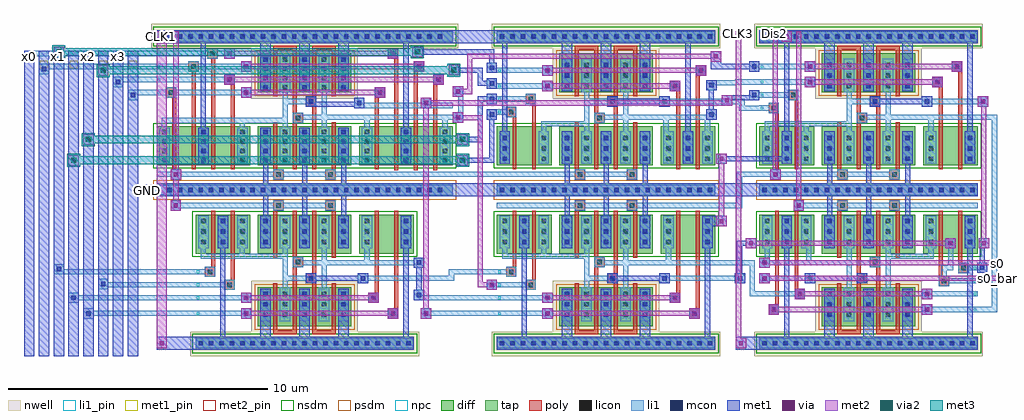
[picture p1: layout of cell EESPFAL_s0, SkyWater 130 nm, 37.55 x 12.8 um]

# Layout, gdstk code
from math import pi, radians
import gdstk
lib = gdstk.Library(unit=1e-6, precision=1e-09)
def R(c, l, rs):  # rectangles x0, y0, x1, y1
    for r in rs: c.add(gdstk.rectangle(r[:2], r[2:], *l))
def A(c, l, x, y, w, h, nx, ny, dx, dy):  # array of equal rectangles
    R(c, l, [(x+i*dx, y+j*dy, x+i*dx+w, y+j*dy+h) for i in range(nx) for j in range(ny)])
nwell = (64, 20)
diff = (65, 20)
tap = (65, 44)
poly = (66, 20)
licon = (66, 44)
li1_pin = (67, 16)
li1 = (67, 20)
mcon = (67, 44)
met1_pin = (68, 16)
met1 = (68, 20)
via = (68, 44)
met2_pin = (69, 16)
met2 = (69, 20)
via2 = (69, 44)
met3 = (70, 20)
nsdm = (93, 44)
psdm = (94, 20)
npc = (95, 20)

m1_via_m2 = lib.new_cell('M1_via_M2')
R(m1_via_m2, met1, [(-0.2,-0.19,0.2,0.21)])
R(m1_via_m2, via, [(-0.075,-0.065,0.075,0.085)])
R(m1_via_m2, met2, [(-0.2,-0.19,0.2,0.21)])

li_via_m2 = lib.new_cell('Li_via_M2')
R(li_via_m2, li1, [(-0.2,-0.19,0.2,0.21)])
R(li_via_m2, mcon, [(-0.085,-0.075,0.085,0.095)])
R(li_via_m2, met1, [(-0.2,-0.19,0.2,0.21)])
R(li_via_m2, via, [(-0.075,-0.065,0.075,0.085)])
R(li_via_m2, met2, [(-0.2,-0.19,0.2,0.21)])

li_mcon_m1 = lib.new_cell('Li_mcon_M1')
R(li_mcon_m1, li1, [(-0.1,-0.1,0.3,0.3)])
R(li_mcon_m1, mcon, [(0.015,0.015,0.185,0.185)])
R(li_mcon_m1, met1, [(-0.1,-0.1,0.3,0.3)])

m1_m3 = lib.new_cell('M1_M3')
R(m1_m3, met1, [(-0.5,-0.4,-0.1,0)])
R(m1_m3, via, [(-0.375,-0.27,-0.225,-0.12)])
R(m1_m3, met2, [(-0.5,-0.4,-0.1,0)])
R(m1_m3, via2, [(-0.4,-0.295,-0.2,-0.095)])
R(m1_m3, met3, [(-0.55,-0.45,-0.05,0.05)])

eespfal_xor_v3 = lib.new_cell('EESPFAL_XOR_v3')
R(eespfal_xor_v3, nwell, [(-2.8,4.6,1.3,6.55), (-6.65,6.55,5.15,7.5)])
A(eespfal_xor_v3, diff, -6.45, 2.05, 3.6, 1.5, 3, 1, 3.9, 0)
R(eespfal_xor_v3, diff, [(-2.55,4.85,1.05,6.35)])
R(eespfal_xor_v3, tap, [(-6.45,0.85,4.95,1.35), (-6.45,6.75,4.95,7.25)])
R(eespfal_xor_v3, poly, [(-1.95,1.5,-1.55,1.9), (0.05,1.5,0.45,1.9), (2.7,1.85,2.85,6.15), (3.45,1.85,3.6,5.65), (4.2,1.85,4.35,5.15), (-5.85,1.9,-5.7,4.65), (-5.1,1.9,-4.95,5.65), (-4.35,1.9,-4.2,6.15), (-3.6,1.9,-3.45,5.15), (-1.95,1.9,-1.8,3.7), (-1.2,1.9,-1.05,3.675), (-0.45,1.9,-0.3,4.3), (0.3,1.9,0.45,3.7), (1.95,1.9,2.1,4.65), (-1.2,3.675,-0.8,4.075), (-1.2,4.075,-1.05,6.5), (-0.7,4.3,-0.3,4.7), (-6.1,4.65,-5.7,5.05), (1.95,4.65,2.35,5.05), (-1.95,4.7,-1.8,6.5), (-0.45,4.7,-0.3,6.5), (0.3,4.7,0.45,6.5), (-3.85,5.15,-3.45,5.55), (4.2,5.15,4.6,5.55), (-5.225,5.65,-4.825,6.05), (3.45,5.65,3.85,6.05), (-4.5,6.15,-4.1,6.55), (2.45,6.15,2.85,6.55), (-1.95,6.5,-1.05,6.65), (-0.45,6.5,0.45,6.65)])
A(eespfal_xor_v3, licon, -6.035, 1.015, 0.17, 0.17, 27, 2, 0.4, 5.9)
A(eespfal_xor_v3, licon, -6.235, 2.16, 0.17, 0.17, 3, 4, 1.5, 0.36)
A(eespfal_xor_v3, licon, -2.335, 2.16, 0.17, 0.17, 5, 4, 0.75, 0.36)
A(eespfal_xor_v3, licon, 1.565, 2.16, 0.17, 0.17, 3, 4, 1.5, 0.36)
A(eespfal_xor_v3, licon, -2.335, 4.96, 0.17, 0.17, 5, 4, 0.75, 0.36)
R(eespfal_xor_v3, licon, [(-1.835,1.615,-1.665,1.785), (0.165,1.615,0.335,1.785), (-1.085,3.79,-0.915,3.96), (-0.585,4.415,-0.415,4.585), (-5.985,4.765,-5.815,4.935), (2.065,4.765,2.235,4.935), (-3.735,5.265,-3.565,5.435), (4.315,5.265,4.485,5.435), (-5.11,5.765,-4.94,5.935), (3.565,5.765,3.735,5.935), (-4.385,6.265,-4.215,6.435), (2.565,6.265,2.735,6.435)])
A(eespfal_xor_v3, li1_pin, -6.4, 4.8, 0.1, 0.1, 1, 4, 0, 0.5)
R(eespfal_xor_v3, li1_pin, [(-1.85,1.6,-1.65,1.8), (-1.1,3.775,-0.9,3.975)])
A(eespfal_xor_v3, li1, -6.35, 2.1, 0.4, 1.4, 3, 1, 1.5, 0)
A(eespfal_xor_v3, li1, -2.45, 2.1, 0.4, 1.4, 5, 1, 0.75, 0)
A(eespfal_xor_v3, li1, 1.45, 2.1, 0.4, 1.4, 3, 1, 1.5, 0)
A(eespfal_xor_v3, li1, -2.45, 4.9, 0.4, 1.4, 3, 1, 1.5, 0)
R(eespfal_xor_v3, li1, [(-6.45,0.9,4.95,1.3), (-1.95,1.5,-1.55,1.6), (0.05,1.5,0.45,1.6), (-6.45,1.6,0.45,1.8), (-1.95,1.8,-1.55,1.9), (0.05,1.8,0.45,1.9), (-0.1,3.35,0.1,3.8), (1.55,3.35,1.75,3.8), (4.55,3.35,4.75,3.8), (-3.25,3.38,-3.05,3.67), (-1.6,3.38,-1.4,3.67), (-6.25,3.67,-1.4,3.87), (-1.2,3.675,-0.8,3.8), (-1.6,3.75,-1.4,4.4), (-1.2,3.8,4.95,4), (-1.2,4,-0.8,4.075), (-0.1,4,0.1,4.85), (1.15,4.25,4.95,4.45), (-0.7,4.3,-0.3,4.4), (-1.6,4.4,-0.3,4.6), (1.15,4.45,1.55,4.65), (-1.6,4.6,-1.4,4.85), (-0.7,4.6,-0.3,4.7), (-6.1,4.65,-5.7,4.75), (-3.2,4.65,-2.8,4.75), (1.95,4.65,2.35,5.05), (-6.45,4.75,-2.8,4.95), (-1.7,4.85,-1.3,6.3), (-0.2,4.85,0.2,6.3), (-6.1,4.95,-5.7,5.05), (-3.2,4.95,-2.8,5.05), (-3.85,5.15,-3.45,5.25), (4.2,5.15,4.6,5.55), (-6.45,5.25,-3.45,5.45), (-3.85,5.45,-3.45,5.55), (-5.225,5.65,-4.825,5.75), (-3.2,5.65,-2.8,5.75), (3.45,5.65,3.85,6.05), (-6.45,5.75,-2.8,5.95), (-5.225,5.95,-4.825,6.05), (-3.2,5.95,-2.8,6.05), (-4.5,6.15,-4.1,6.25), (-3.85,6.15,-3.45,6.25), (2.45,6.15,2.85,6.55), (-6.45,6.25,-3.45,6.45), (-4.5,6.45,-4.1,6.55), (-3.85,6.45,-3.45,6.55), (-6.45,6.8,4.95,7.2)])
A(eespfal_xor_v3, mcon, -6.035, 1.015, 0.17, 0.17, 27, 2, 0.4, 5.9)
A(eespfal_xor_v3, mcon, -4.735, 2.16, 0.17, 0.17, 1, 4, 0, 0.36)
A(eespfal_xor_v3, mcon, -2.335, 2.16, 0.17, 0.17, 3, 4, 1.5, 0.36)
A(eespfal_xor_v3, mcon, 3.065, 2.16, 0.17, 0.17, 1, 4, 0, 0.36)
A(eespfal_xor_v3, mcon, -2.335, 4.96, 0.17, 0.17, 3, 4, 1.5, 0.36)
R(eespfal_xor_v3, mcon, [(1.265,4.365,1.435,4.535), (-0.585,4.415,-0.415,4.585), (-3.085,4.765,-2.915,4.935), (2.065,4.765,2.235,4.935), (-3.735,5.265,-3.565,5.435), (4.315,5.265,4.485,5.435), (-3.085,5.765,-2.915,5.935), (3.565,5.765,3.735,5.935), (-3.735,6.265,-3.565,6.435), (2.565,6.265,2.735,6.435)])
R(eespfal_xor_v3, met1_pin, [(-0.85,1,-0.65,1.2), (-0.6,4.4,-0.4,4.6), (-0.85,6.9,-0.65,7.1)])
A(eespfal_xor_v3, met1, -2.35, 1.35, 0.2, 0.75, 3, 1, 1.5, 0)
A(eespfal_xor_v3, met1, -2.45, 2.1, 0.4, 1.4, 3, 1, 1.5, 0)
A(eespfal_xor_v3, met1, -2.45, 4.9, 0.4, 1.85, 3, 1, 1.5, 0)
R(eespfal_xor_v3, met1, [(-6.45,0.85,4.95,1.35), (-4.85,2.1,-4.45,3.5), (2.95,2.1,3.35,3.5), (3.05,3.35,3.25,6.75), (-4.75,3.41,-4.55,6.75), (1.15,4.25,1.55,4.3), (-0.7,4.3,1.55,4.5), (-0.7,4.5,-0.3,4.7), (1.15,4.5,1.55,4.65), (-3.2,4.65,-2.8,5.05), (1.95,4.65,2.35,5.05), (-3.85,5.15,-3.45,5.55), (4.2,5.15,4.6,5.55), (-3.2,5.65,-2.8,6.05), (3.45,5.65,3.85,6.05), (-3.85,6.15,-3.45,6.55), (2.45,6.15,2.85,6.55), (-6.45,6.75,4.95,7.25)])
R(eespfal_xor_v3, via, [(-3.075,4.775,-2.925,4.925), (2.075,4.775,2.225,4.925), (-3.725,5.275,-3.575,5.425), (4.325,5.275,4.475,5.425), (-3.075,5.775,-2.925,5.925), (3.575,5.775,3.725,5.925), (-3.725,6.275,-3.575,6.425), (2.575,6.275,2.725,6.425)])
R(eespfal_xor_v3, met2, [(-3.2,4.65,-2.8,4.75), (1.95,4.65,2.35,4.75), (-3.2,4.75,2.35,4.95), (-3.2,4.95,-2.8,5.05), (1.95,4.95,2.35,5.05), (-3.85,5.15,-3.45,5.25), (4.2,5.15,4.6,5.25), (-3.85,5.25,4.6,5.45), (-3.85,5.45,-3.45,5.55), (4.2,5.45,4.6,5.55), (-3.2,5.65,-2.8,5.75), (3.45,5.65,3.85,5.75), (-3.2,5.75,3.85,5.95), (-3.2,5.95,-2.8,6.05), (3.45,5.95,3.85,6.05), (-3.85,6.15,-3.45,6.25), (2.45,6.15,2.85,6.25), (-3.85,6.25,2.85,6.45), (-3.85,6.45,-3.45,6.55), (2.45,6.45,2.85,6.55)])
R(eespfal_xor_v3, nsdm, [(-6.575,1.925,5.075,3.675), (-6.575,6.625,5.075,7.375)])
R(eespfal_xor_v3, psdm, [(-6.575,0.725,5.075,1.475), (-2.675,4.725,1.175,6.475)])
R(eespfal_xor_v3, npc, [(-1.935,1.515,-1.565,1.885), (0.065,1.515,0.435,1.885), (-1.185,3.69,-0.815,4.05), (-1.185,4.05,-0.815,4.06), (-0.685,4.315,-0.315,4.325), (-0.685,4.325,-0.315,4.685), (-6.085,4.665,-5.715,5.035), (1.965,4.665,2.335,5.035), (-3.835,5.165,-3.465,5.535), (4.215,5.165,4.585,5.535), (-5.21,5.665,-4.84,5.765), (3.465,5.665,3.835,6.035), (-5.21,5.765,-4.84,6.035), (-4.485,6.165,-4.115,6.435), (2.465,6.165,2.835,6.535), (-4.485,6.435,-4.115,6.535)])
eespfal_xor_v3.add(gdstk.FlexPath([(-6.15,3.41),(-6.15,3.67)], 0.2, ends="flush", simple_path=True, layer=67, datatype=20))  # li1
eespfal_xor_v3.add(gdstk.Label('OUT_bar', (-0.5,4.5), layer=68, texttype=16))
eespfal_xor_v3.add(gdstk.Label('GND!', (-0.75,1.1), layer=68, texttype=16))
eespfal_xor_v3.add(gdstk.Label('CLK', (-0.75,7), layer=68, texttype=16))
eespfal_xor_v3.add(gdstk.Label('OUT', (-1,3.875), layer=67, texttype=16))
eespfal_xor_v3.add(gdstk.Label('A', (-6.35,6.35), layer=67, texttype=16))
eespfal_xor_v3.add(gdstk.Label('A_bar', (-6.35,5.85), layer=67, texttype=16))
eespfal_xor_v3.add(gdstk.Label('B', (-6.35,5.35), layer=67, texttype=16))
eespfal_xor_v3.add(gdstk.Label('B_bar', (-6.35,4.85), layer=67, texttype=16))
eespfal_xor_v3.add(gdstk.Label('Dis', (-1.75,1.7), layer=67, texttype=16))

eespfal_nand_v3 = lib.new_cell('EESPFAL_NAND_v3')
R(eespfal_nand_v3, nwell, [(-2.395,0.48,1.705,2.43), (-4.745,2.43,4.055,3.38)])
R(eespfal_nand_v3, diff, [(-4.545,-2.07,-2.445,-0.57), (-2.145,-2.07,1.455,-0.57), (1.755,-2.07,3.855,-0.57), (-2.145,0.73,1.455,2.23)])
R(eespfal_nand_v3, tap, [(-4.545,-3.27,3.855,-2.77), (-4.545,2.63,3.855,3.13)])
R(eespfal_nand_v3, poly, [(-1.545,-2.62,-1.145,-2.22), (0.455,-2.62,0.855,-2.22), (-3.945,-2.22,-3.795,-0.07), (-3.195,-2.22,-3.045,0.43), (-1.545,-2.22,-1.395,-0.42), (-0.795,-2.22,-0.645,-0.445), (-0.045,-2.22,0.105,0.18), (0.705,-2.22,0.855,-0.42), (2.355,-2.22,2.505,0.93), (3.105,-2.22,3.255,1.53), (-0.795,-0.445,-0.395,-0.045), (-4.195,-0.07,-3.795,0.33), (-0.795,-0.045,-0.645,2.38), (-0.295,0.18,0.105,0.58), (-3.445,0.43,-3.045,0.83), (-1.545,0.58,-1.395,2.38), (-0.045,0.58,0.105,2.38), (0.705,0.58,0.855,2.38), (2.105,0.93,2.505,1.33), (2.855,1.53,3.255,1.93), (-1.545,2.38,-0.645,2.53), (-0.045,2.38,0.855,2.53)])
A(eespfal_nand_v3, licon, -4.43, -3.105, 0.17, 0.17, 21, 2, 0.4, 5.9)
A(eespfal_nand_v3, licon, -4.33, -1.905, 0.17, 0.17, 3, 3, 0.75, 0.4)
A(eespfal_nand_v3, licon, -1.93, -1.905, 0.17, 0.17, 5, 3, 0.75, 0.4)
A(eespfal_nand_v3, licon, 1.97, -1.905, 0.17, 0.17, 1, 3, 0, 0.4)
A(eespfal_nand_v3, licon, 3.47, -1.905, 0.17, 0.17, 1, 3, 0, 0.4)
A(eespfal_nand_v3, licon, -1.93, 0.895, 0.17, 0.17, 5, 3, 0.75, 0.4)
R(eespfal_nand_v3, licon, [(-1.43,-2.505,-1.26,-2.335), (0.57,-2.505,0.74,-2.335), (-0.68,-0.33,-0.51,-0.16), (-4.08,0.045,-3.91,0.215), (-0.18,0.295,-0.01,0.465), (-3.33,0.545,-3.16,0.715), (2.22,1.045,2.39,1.215), (2.97,1.645,3.14,1.815)])
A(eespfal_nand_v3, li1_pin, -4.495, 0.08, 0.1, 0.1, 1, 3, 0, 0.5)
R(eespfal_nand_v3, li1_pin, [(-1.445,-2.52,-1.245,-2.32), (-0.695,-0.345,-0.495,-0.145), (-4.495,1.68,-4.395,1.78)])
A(eespfal_nand_v3, li1, -4.445, -2.02, 0.4, 1.25, 3, 1, 0.75, 0)
A(eespfal_nand_v3, li1, -2.045, -2.02, 0.4, 1.25, 5, 1, 0.75, 0)
A(eespfal_nand_v3, li1, -2.045, 0.78, 0.4, 1.25, 3, 1, 1.5, 0)
A(eespfal_nand_v3, li1, -2.795, 0.93, 0.4, 0.1, 1, 4, 0, 0.3)
R(eespfal_nand_v3, li1, [(-4.545,-3.22,3.855,-2.82), (-1.545,-2.62,-1.145,-2.52), (0.455,-2.62,0.855,-2.52), (-4.545,-2.52,0.855,-2.32), (-1.545,-2.32,-1.145,-2.22), (0.455,-2.32,0.855,-2.22), (1.855,-2.02,2.255,-0.77), (3.355,-2.02,3.755,-0.77), (-4.345,-0.77,-4.145,-0.57), (-2.845,-0.77,-2.645,-0.57), (-1.19,-0.77,-0.995,-0.57), (0.305,-0.77,0.505,-0.32), (1.955,-0.77,2.155,-0.32), (-4.345,-0.57,-0.995,-0.37), (-0.795,-0.445,-0.395,-0.32), (-1.195,-0.37,-0.995,0.28), (-0.795,-0.32,3.855,-0.12), (-0.795,-0.12,-0.395,-0.045), (0.305,-0.12,0.505,0.73), (-4.195,-0.07,-3.795,0.03), (-4.545,0.03,-3.795,0.23), (-0.295,0.18,0.105,0.28), (1.705,0.18,2.105,0.28), (-4.195,0.23,-3.795,0.33), (-1.195,0.28,0.105,0.48), (1.705,0.28,3.855,0.48), (-3.445,0.43,-3.045,0.53), (-1.195,0.48,-0.995,0.73), (-0.295,0.48,0.105,0.58), (1.705,0.48,2.105,0.58), (-4.545,0.53,-3.045,0.73), (-3.445,0.73,-3.045,0.83), (-1.295,0.73,-0.895,2.03), (0.205,0.73,0.605,2.03), (2.105,0.93,2.505,1.33), (-4.545,1.03,-2.395,1.23), (2.855,1.53,3.255,1.93), (-4.545,1.63,-2.395,1.83), (-4.545,2.68,3.855,3.08)])
A(eespfal_nand_v3, mcon, -4.43, -3.105, 0.17, 0.17, 21, 2, 0.4, 5.9)
A(eespfal_nand_v3, mcon, -3.58, -1.905, 0.17, 0.17, 1, 3, 0, 0.4)
A(eespfal_nand_v3, mcon, -1.93, -1.905, 0.17, 0.17, 3, 3, 1.5, 0.4)
A(eespfal_nand_v3, mcon, 3.47, -1.905, 0.17, 0.17, 1, 3, 0, 0.4)
A(eespfal_nand_v3, mcon, -1.93, 0.895, 0.17, 0.17, 3, 3, 1.5, 0.4)
R(eespfal_nand_v3, mcon, [(-0.18,0.295,-0.01,0.465), (1.82,0.295,1.99,0.465), (-2.68,1.045,-2.51,1.215), (2.22,1.045,2.39,1.215), (-2.68,1.645,-2.51,1.815), (2.97,1.645,3.14,1.815)])
R(eespfal_nand_v3, met1_pin, [(-0.445,-3.12,-0.245,-2.92), (-0.195,0.28,0.005,0.48), (-0.445,2.78,-0.245,2.98)])
A(eespfal_nand_v3, met1, -1.945, -2.77, 0.2, 0.75, 3, 1, 1.5, 0)
A(eespfal_nand_v3, met1, -2.045, -2.02, 0.4, 1.25, 3, 1, 1.5, 0)
A(eespfal_nand_v3, met1, -2.045, 0.78, 0.4, 1.85, 3, 1, 1.5, 0)
R(eespfal_nand_v3, met1, [(-4.545,-3.27,3.855,-2.77), (-3.695,-2.02,-3.295,-0.77), (3.355,-2.02,3.755,-0.77), (-3.595,-0.77,-3.395,2.63), (3.455,-0.77,3.655,2.63), (-0.295,0.18,0.105,0.28), (1.705,0.18,2.105,0.28), (-0.295,0.28,2.105,0.48), (-0.295,0.48,0.105,0.58), (1.705,0.48,2.105,0.58), (-2.795,0.93,-2.395,1.33), (2.105,0.93,2.505,1.33), (-2.795,1.53,-2.395,1.93), (2.855,1.53,3.255,1.93), (-4.545,2.63,3.855,3.13)])
R(eespfal_nand_v3, via, [(-2.67,1.055,-2.52,1.205), (2.23,1.055,2.38,1.205), (-2.67,1.655,-2.52,1.805), (2.98,1.655,3.13,1.805)])
A(eespfal_nand_v3, met2, -2.795, 0.93, 0.4, 0.1, 1, 4, 0, 0.3)
R(eespfal_nand_v3, met2, [(2.105,0.93,2.505,1.03), (-2.795,1.03,2.505,1.23), (2.105,1.23,2.505,1.33), (2.855,1.53,3.255,1.63), (-2.795,1.63,3.255,1.83), (2.855,1.83,3.255,1.93)])
R(eespfal_nand_v3, nsdm, [(-4.67,-2.195,3.98,-0.445), (-4.67,2.505,3.98,3.255)])
R(eespfal_nand_v3, psdm, [(-4.67,-3.395,3.98,-2.645), (-2.27,0.605,1.58,2.355)])
R(eespfal_nand_v3, npc, [(-1.53,-2.605,-1.16,-2.235), (0.47,-2.605,0.84,-2.235), (-0.78,-0.43,-0.41,-0.07), (-0.78,-0.07,-0.41,-0.06), (-4.18,-0.055,-3.81,0.315), (-0.28,0.195,0.09,0.205), (-0.28,0.205,0.09,0.565), (-3.43,0.445,-3.06,0.815), (2.12,0.945,2.49,1.315), (2.87,1.545,3.24,1.915)])
eespfal_nand_v3.add(gdstk.Label('OUT_bar', (-0.095,0.38), layer=68, texttype=16))
eespfal_nand_v3.add(gdstk.Label('GND!', (-0.345,-3.02), layer=68, texttype=16))
eespfal_nand_v3.add(gdstk.Label('CLK', (-0.345,2.88), layer=68, texttype=16))
eespfal_nand_v3.add(gdstk.Label('OUT', (-0.595,-0.245), layer=67, texttype=16))
eespfal_nand_v3.add(gdstk.Label('A', (-4.445,1.73), layer=67, texttype=16))
eespfal_nand_v3.add(gdstk.Label('A_bar', (-4.445,0.63), layer=67, texttype=16))
eespfal_nand_v3.add(gdstk.Label('B', (-4.445,1.13), layer=67, texttype=16))
eespfal_nand_v3.add(gdstk.Label('B_bar', (-4.445,0.13), layer=67, texttype=16))
eespfal_nand_v3.add(gdstk.Label('Dis', (-1.345,-2.42), layer=67, texttype=16))

eespfal_nor_v3 = lib.new_cell('EESPFAL_NOR_v3')
R(eespfal_nor_v3, nwell, [(-7.7,5.3,-3.6,7.25), (-10.05,7.25,-1.25,8.2)])
R(eespfal_nor_v3, diff, [(-9.85,2.75,-7.75,4.25), (-7.45,2.75,-3.85,4.25), (-3.55,2.75,-1.45,4.25), (-7.45,5.55,-3.85,7.05)])
R(eespfal_nor_v3, tap, [(-9.85,1.55,-1.45,2.05), (-9.85,7.45,-1.45,7.95)])
R(eespfal_nor_v3, poly, [(-6.85,2.2,-6.45,2.6), (-4.85,2.2,-4.45,2.6), (-9.25,2.6,-9.1,4.6), (-8.5,2.6,-8.35,5.1), (-6.85,2.6,-6.7,4.4), (-6.1,2.6,-5.95,4.375), (-5.35,2.6,-5.2,5), (-4.6,2.6,-4.45,4.4), (-2.95,2.6,-2.8,5.6), (-2.2,2.6,-2.05,6.2), (-6.1,4.375,-5.7,4.775), (-9.5,4.6,-9.1,5), (-6.1,4.775,-5.95,7.2), (-5.6,5,-5.2,5.4), (-8.75,5.1,-8.35,5.5), (-6.85,5.4,-6.7,7.2), (-5.35,5.4,-5.2,7.2), (-4.6,5.4,-4.45,7.2), (-3.2,5.6,-2.8,6), (-2.2,6.2,-1.8,6.6), (-6.85,7.2,-5.95,7.35), (-5.35,7.2,-4.45,7.35)])
A(eespfal_nor_v3, licon, -9.735, 1.715, 0.17, 0.17, 21, 2, 0.4, 5.9)
A(eespfal_nor_v3, licon, -9.635, 2.915, 0.17, 0.17, 1, 3, 0, 0.4)
A(eespfal_nor_v3, licon, -8.135, 2.915, 0.17, 0.17, 1, 3, 0, 0.4)
A(eespfal_nor_v3, licon, -7.235, 2.915, 0.17, 0.17, 5, 3, 0.75, 0.4)
A(eespfal_nor_v3, licon, -3.335, 2.915, 0.17, 0.17, 3, 3, 0.75, 0.4)
A(eespfal_nor_v3, licon, -7.235, 5.715, 0.17, 0.17, 5, 3, 0.75, 0.4)
R(eespfal_nor_v3, licon, [(-6.735,2.315,-6.565,2.485), (-4.735,2.315,-4.565,2.485), (-5.985,4.49,-5.815,4.66), (-9.385,4.715,-9.215,4.885), (-5.485,5.115,-5.315,5.285), (-8.635,5.215,-8.465,5.385), (-3.085,5.715,-2.915,5.885), (-2.085,6.315,-1.915,6.485)])
A(eespfal_nor_v3, li1_pin, -9.8, 4.75, 0.1, 0.1, 1, 3, 0, 0.5)
R(eespfal_nor_v3, li1_pin, [(-6.75,2.3,-6.55,2.5), (-6,4.475,-5.8,4.675), (-9.8,6.35,-9.7,6.45)])
A(eespfal_nor_v3, li1, -7.35, 2.8, 0.4, 1.25, 5, 1, 0.75, 0)
A(eespfal_nor_v3, li1, -3.45, 2.8, 0.4, 1.25, 3, 1, 0.75, 0)
A(eespfal_nor_v3, li1, -8.1, 5.6, 0.4, 0.1, 1, 4, 0, 0.3)
A(eespfal_nor_v3, li1, -7.35, 5.6, 0.4, 1.25, 3, 1, 1.5, 0)
R(eespfal_nor_v3, li1, [(-9.85,1.6,-1.45,2), (-6.85,2.2,-6.45,2.3), (-4.85,2.2,-4.45,2.3), (-9.85,2.3,-4.45,2.5), (-6.85,2.5,-6.45,2.6), (-4.85,2.5,-4.45,2.6), (-9.75,2.8,-9.35,4.05), (-8.25,2.8,-7.85,4.05), (-8.15,4.05,-7.95,4.25), (-6.5,4.05,-6.3,4.25), (-5,4.05,-4.8,4.5), (-3.45,4.05,-3.25,4.5), (-1.85,4.05,-1.65,4.5), (-8.15,4.25,-6.3,4.45), (-6.1,4.375,-5.7,4.5), (-6.5,4.45,-6.3,5.1), (-6.1,4.5,-1.45,4.7), (-9.5,4.6,-9.1,4.7), (-9.85,4.7,-9.1,4.9), (-6.1,4.7,-5.7,4.775), (-5,4.7,-4.8,5.55), (-9.5,4.9,-9.1,5), (-5.6,5,-5.2,5.1), (-3.6,5,-3.2,5.1), (-8.75,5.1,-8.35,5.2), (-6.5,5.1,-5.2,5.3), (-3.6,5.1,-1.45,5.3), (-9.85,5.2,-8.35,5.4), (-6.5,5.3,-6.3,5.55), (-5.6,5.3,-5.2,5.4), (-3.6,5.3,-3.2,5.4), (-8.75,5.4,-8.35,5.5), (-6.6,5.55,-6.2,6.85), (-5.1,5.55,-4.7,6.85), (-3.2,5.6,-2.8,6), (-9.85,5.7,-7.7,5.9), (-2.2,6.2,-1.8,6.6), (-9.85,6.3,-7.7,6.5), (-9.85,7.5,-1.45,7.9)])
A(eespfal_nor_v3, mcon, -9.735, 1.715, 0.17, 0.17, 21, 2, 0.4, 5.9)
A(eespfal_nor_v3, mcon, -9.635, 2.915, 0.17, 0.17, 1, 3, 0, 0.4)
A(eespfal_nor_v3, mcon, -7.235, 2.915, 0.17, 0.17, 3, 3, 1.5, 0.4)
A(eespfal_nor_v3, mcon, -2.585, 2.915, 0.17, 0.17, 1, 3, 0, 0.4)
A(eespfal_nor_v3, mcon, -7.235, 5.715, 0.17, 0.17, 3, 3, 1.5, 0.4)
R(eespfal_nor_v3, mcon, [(-5.485,5.115,-5.315,5.285), (-3.485,5.115,-3.315,5.285), (-7.985,5.715,-7.815,5.885), (-3.085,5.715,-2.915,5.885), (-7.985,6.315,-7.815,6.485), (-2.085,6.315,-1.915,6.485)])
R(eespfal_nor_v3, met1_pin, [(-5.75,1.7,-5.55,1.9), (-5.5,5.1,-5.3,5.3), (-5.75,7.6,-5.55,7.8)])
A(eespfal_nor_v3, met1, -7.25, 2.05, 0.2, 0.75, 3, 1, 1.5, 0)
A(eespfal_nor_v3, met1, -7.35, 2.8, 0.4, 1.25, 3, 1, 1.5, 0)
A(eespfal_nor_v3, met1, -7.35, 5.6, 0.4, 1.85, 3, 1, 1.5, 0)
R(eespfal_nor_v3, met1, [(-9.85,1.55,-1.45,2.05), (-9.75,2.8,-9.35,4.05), (-2.7,2.8,-2.3,4.05), (-9.65,4.05,-9.45,7.45), (-2.6,4.05,-2.4,7.45), (-5.6,5,-5.2,5.1), (-3.6,5,-3.2,5.1), (-5.6,5.1,-3.2,5.3), (-5.6,5.3,-5.2,5.4), (-3.6,5.3,-3.2,5.4), (-8.1,5.6,-7.7,6), (-3.2,5.6,-2.8,6), (-8.1,6.2,-7.7,6.6), (-2.2,6.2,-1.8,6.6), (-9.85,7.45,-1.45,7.95)])
R(eespfal_nor_v3, via, [(-7.975,5.725,-7.825,5.875), (-3.075,5.725,-2.925,5.875), (-7.975,6.325,-7.825,6.475), (-2.075,6.325,-1.925,6.475)])
A(eespfal_nor_v3, met2, -8.1, 5.6, 0.4, 0.1, 1, 4, 0, 0.3)
R(eespfal_nor_v3, met2, [(-3.2,5.6,-2.8,5.7), (-8.1,5.7,-2.8,5.9), (-3.2,5.9,-2.8,6), (-2.2,6.2,-1.8,6.3), (-8.1,6.3,-1.8,6.5), (-2.2,6.5,-1.8,6.6)])
R(eespfal_nor_v3, nsdm, [(-9.975,2.625,-1.325,4.375), (-9.975,7.325,-1.325,8.075)])
R(eespfal_nor_v3, psdm, [(-9.975,1.425,-1.325,2.175), (-7.575,5.425,-3.725,7.175)])
R(eespfal_nor_v3, npc, [(-6.835,2.215,-6.465,2.585), (-4.835,2.215,-4.465,2.585), (-6.085,4.39,-5.715,4.75), (-9.485,4.615,-9.115,4.985), (-6.085,4.75,-5.715,4.76), (-5.585,5.015,-5.215,5.025), (-5.585,5.025,-5.215,5.385), (-8.735,5.115,-8.365,5.485), (-3.185,5.615,-2.815,5.985), (-2.185,6.215,-1.815,6.585)])
eespfal_nor_v3.add(gdstk.Label('OUT_bar', (-5.4,5.2), layer=68, texttype=16))
eespfal_nor_v3.add(gdstk.Label('GND!', (-5.65,1.8), layer=68, texttype=16))
eespfal_nor_v3.add(gdstk.Label('CLK', (-5.65,7.7), layer=68, texttype=16))
eespfal_nor_v3.add(gdstk.Label('OUT', (-5.9,4.575), layer=67, texttype=16))
eespfal_nor_v3.add(gdstk.Label('A', (-9.75,6.4), layer=67, texttype=16))
eespfal_nor_v3.add(gdstk.Label('A_bar', (-9.75,4.8), layer=67, texttype=16))
eespfal_nor_v3.add(gdstk.Label('B', (-9.75,5.8), layer=67, texttype=16))
eespfal_nor_v3.add(gdstk.Label('B_bar', (-9.75,5.3), layer=67, texttype=16))
eespfal_nor_v3.add(gdstk.Label('Dis', (-6.65,2.4), layer=67, texttype=16))

eespfal_s0 = lib.new_cell('EESPFAL_s0')
R(eespfal_s0, li1, [(-0.97,8.55,2.95,8.75), (12.02,8.55,14.55,8.75), (33.05,8.7,33.79,8.9), (33.59,8.9,33.79,16.1), (-1.54,9.15,2.95,9.35), (11.75,9.15,14.55,9.35), (24.275,9.3,26,9.5), (24.275,9.5,24.475,10.5), (-0.4,9.65,2.95,9.85), (11.345,9.9,12.9,10.1), (22.95,9.9,23.705,10.1), (12.7,10.1,12.9,10.15), (31.65,10.1,31.85,10.3), (-2.11,10.15,2.95,10.35), (12.7,10.15,14.55,10.35), (31.65,10.3,32.105,10.5), (22.95,10.5,24.475,10.7), (31.905,10.5,32.105,11.15), (1.99,12.7,2.95,12.9), (19.95,12.7,23.985,12.9), (26.36,12.7,27.65,12.9), (23.785,12.9,23.985,13.9), (0.91,13.2,1.45,13.6), (8.35,13.9,14.55,14.1), (23.785,13.9,24.65,14.1), (12.85,16.1,13.02,16.3), (33.05,16.1,33.79,16.3), (13.05,16.375,13.25,16.99), (23.88,16.445,24.65,16.645), (23.88,16.645,24.08,16.7), (22.95,16.7,24.08,16.9), (0.74,17.05,1.45,17.25), (23,17.43,23.71,17.45), (23,17.45,24.65,17.63), (0.17,17.55,1.45,17.75), (23.71,17.63,24.65,17.65), (-2.68,18.05,1.45,18.25), (-3.25,18.55,1.45,18.75)])
R(eespfal_s0, met1_pin, [(1,13.285,1.225,13.51), (-3.035,18.075,-2.73,18.375), (-1.89,18.075,-1.585,18.375), (-0.755,18.08,-0.45,18.38), (0.39,18.08,0.695,18.38), (-3.6,18.38,-3.295,18.68), (-2.46,18.38,-2.155,18.68), (-1.32,18.385,-1.015,18.685), (-0.18,18.385,0.125,18.685)])
A(eespfal_s0, met1, -3.65, 6.995, 0.4, 11.755, 4, 1, 0.57, 0)
R(eespfal_s0, met1, [(-0.8,6.995,-0.4,18.75), (0.34,6.995,0.74,18.75), (-1.37,7,-0.97,18.75), (-0.23,7,0.17,18.75), (1.45,7.25,2.95,7.75), (23.74,7.25,24.65,7.75), (11.45,9.55,11.65,10.4), (23.785,10.2,23.985,11.25), (33.12,10.605,33.32,11.15), (23.785,11.25,24.125,11.45), (22.85,12,22.99,12.4), (12.845,13.15,14.55,13.65), (22.95,13.15,24.65,13.65), (1,13.285,1.225,13.51), (13.305,14.44,14.45,14.64), (23.39,14.5,25.5,14.7), (14.25,14.64,14.45,16.1), (13.425,15.24,14.01,15.44), (13.81,15.44,14.01,16.8), (22.695,16.5,22.895,17.355), (13.81,16.8,14.15,17), (23.6,16.845,24.25,17.045), (13.81,17.4,14.15,17.6), (13.81,17.6,14.01,17.91), (13.09,17.91,14.01,18.11), (22.77,18.05,24.25,18.25), (22.77,18.25,23.17,18.34), (14.25,18.3,14.45,18.61), (11.69,18.61,14.45,18.81), (12.85,19.05,14.55,19.55)])
R(eespfal_s0, met2_pin, [(33.775,9.95,33.85,10.025), (33.775,10.55,33.85,10.625), (1.54,19.22,1.74,19.42), (2.15,19.3,2.25,19.4), (23.79,19.36,23.89,19.46), (25.2,19.375,25.275,19.45), (25.65,19.375,25.725,19.45), (26.125,19.375,26.2,19.45)])
R(eespfal_s0, met2, [(1.45,7.7,1.85,19.5), (23.74,7.7,23.94,19.5), (11.72,8.85,11.92,16.55), (13.81,9.65,14.15,9.85), (13.81,9.85,14.01,16.08), (25.05,9.9,33.905,10.1), (25.05,10.5,33.905,10.7), (24.525,11.25,31.8,11.45), (33.18,11.55,33.38,16.6), (23.09,12.4,23.29,14.4), (2.095,12.6,2.295,19.5), (26.06,13,26.26,19.5), (25.16,14.2,25.36,19.5), (13.25,16.08,14.01,16.28), (12.02,16.645,23.6,16.845), (13.25,17.09,13.6,17.29), (13.4,17.29,13.6,18.44), (13.4,18.44,22.77,18.64), (25.6,19.15,25.8,19.5)])
R(eespfal_s0, met3, [(-1.49,14.39,13.095,14.69), (-0.92,15.19,12.975,15.49), (-0.35,17.86,12.64,18.16), (-2.06,18.56,11.24,18.86)])
eespfal_s0.add(gdstk.Reference(m1_via_m2, (1.65,7.49)))
eespfal_s0.add(gdstk.Reference(li_via_m2, (2.19,12.79)))
eespfal_s0.add(gdstk.Reference(li_mcon_m1, (-1.27,8.55)))
eespfal_s0.add(gdstk.Reference(li_mcon_m1, (-1.84,9.15)))
eespfal_s0.add(gdstk.Reference(li_mcon_m1, (-0.7,9.68)))
eespfal_s0.add(gdstk.Reference(li_mcon_m1, (-2.41,10.25)))
eespfal_s0.add(gdstk.Reference(li_mcon_m1, (1.01,13.3)))
eespfal_s0.add(gdstk.Reference(m1_m3, (-0.87,15.54)))
eespfal_s0.add(gdstk.Reference(m1_m3, (-1.44,14.74)))
eespfal_s0.add(gdstk.Reference(li_via_m2, (2.195,13.99)))
eespfal_s0.add(gdstk.Reference(li_mcon_m1, (-2.98,17.95)))
eespfal_s0.add(gdstk.Reference(li_mcon_m1, (-3.55,18.45)))
eespfal_s0.add(gdstk.Reference(m1_m3, (-2.01,18.91)))
eespfal_s0.add(gdstk.Reference(li_mcon_m1, (0.44,16.95)))
eespfal_s0.add(gdstk.Reference(li_mcon_m1, (-0.13,17.45)))
eespfal_s0.add(gdstk.Reference(m1_m3, (-0.3,18.195)))
eespfal_s0.add(gdstk.Reference(m1_via_m2, (1.65,19.29)))
eespfal_s0.add(gdstk.Reference(eespfal_xor_v3, (7.9,12.3)))
eespfal_s0.add(gdstk.Reference(eespfal_nand_v3, (7.495,10.38), x_reflection=True))
eespfal_s0.add(gdstk.Reference(li_via_m2, (11.82,8.64)))
eespfal_s0.add(gdstk.Reference(li_via_m2, (14.35,9.74)))
eespfal_s0.add(gdstk.Reference(li_mcon_m1, (11.45,10.5)))
eespfal_s0.add(gdstk.Reference(li_mcon_m1, (11.45,9.25)))
eespfal_s0.add(gdstk.Reference(li_via_m2, (13.05,16.17)))
eespfal_s0.add(gdstk.Reference(m1_m3, (13.525,15.54)))
eespfal_s0.add(gdstk.Reference(m1_m3, (13.525,14.74)))
eespfal_s0.add(gdstk.Reference(li_via_m2, (13.05,17.18)))
eespfal_s0.add(gdstk.Reference(li_via_m2, (11.82,16.74)))
eespfal_s0.add(gdstk.Reference(m1_m3, (13.19,18.21)))
eespfal_s0.add(gdstk.Reference(m1_m3, (11.79,18.91)))
eespfal_s0.add(gdstk.Reference(li_mcon_m1, (14.25,16.8)))
eespfal_s0.add(gdstk.Reference(li_mcon_m1, (14.25,16.2)))
eespfal_s0.add(gdstk.Reference(li_mcon_m1, (14.25,17.4)))
eespfal_s0.add(gdstk.Reference(li_mcon_m1, (14.25,18)))
eespfal_s0.add(gdstk.Reference(eespfal_nor_v3, (24.4,11.6)))
eespfal_s0.add(gdstk.Reference(eespfal_nand_v3, (19.095,10.38), x_reflection=True))
eespfal_s0.add(gdstk.Reference(m1_via_m2, (24.325,11.34)))
eespfal_s0.add(gdstk.Reference(m1_via_m2, (23.19,12.19)))
eespfal_s0.add(gdstk.Reference(m1_via_m2, (23.94,7.49)))
eespfal_s0.add(gdstk.Reference(li_via_m2, (26.16,12.79)))
eespfal_s0.add(gdstk.Reference(li_via_m2, (24.85,10.59)))
eespfal_s0.add(gdstk.Reference(li_via_m2, (24.85,9.99)))
eespfal_s0.add(gdstk.Reference(li_mcon_m1, (23.805,9.9)))
eespfal_s0.add(gdstk.Reference(m1_via_m2, (22.97,18.53)))
eespfal_s0.add(gdstk.Reference(m1_via_m2, (23.4,16.835)))
eespfal_s0.add(gdstk.Reference(m1_via_m2, (23.19,14.59)))
eespfal_s0.add(gdstk.Reference(m1_via_m2, (25.7,19.29)))
eespfal_s0.add(gdstk.Reference(li_via_m2, (25.26,13.99)))
eespfal_s0.add(gdstk.Reference(li_mcon_m1, (24.35,16.945)))
eespfal_s0.add(gdstk.Reference(li_mcon_m1, (22.7,16.2)))
eespfal_s0.add(gdstk.Reference(li_mcon_m1, (22.9,17.33), rotation=pi, x_reflection=True))
eespfal_s0.add(gdstk.Reference(li_mcon_m1, (24.35,18.05)))
eespfal_s0.add(gdstk.Reference(eespfal_nor_v3, (23.2,15.2), rotation=pi))
eespfal_s0.add(gdstk.Reference(eespfal_nand_v3, (29.195,16.42)))
eespfal_s0.add(gdstk.Reference(li_mcon_m1, (33.12,10.305)))
eespfal_s0.add(gdstk.Reference(li_via_m2, (32,11.34)))
eespfal_s0.add(gdstk.Reference(li_via_m2, (33.25,16.79)))
eespfal_s0.add(gdstk.Reference(m1_via_m2, (33.29,11.34)))
eespfal_s0.add(gdstk.Label('GND', (1.112,13.397), layer=68, texttype=16))
eespfal_s0.add(gdstk.Label('x0', (-3.447,18.53), layer=68, texttype=16))
eespfal_s0.add(gdstk.Label('x0_bar', (-2.882,18.225), layer=68, texttype=16))
eespfal_s0.add(gdstk.Label('x1', (-2.307,18.53), layer=68, texttype=16))
eespfal_s0.add(gdstk.Label('x1_bar', (-1.737,18.225), layer=68, texttype=16))
eespfal_s0.add(gdstk.Label('x2', (-1.167,18.535), layer=68, texttype=16))
eespfal_s0.add(gdstk.Label('x2_bar', (-0.602,18.23), layer=68, texttype=16))
eespfal_s0.add(gdstk.Label('x3', (-0.027,18.535), layer=68, texttype=16))
eespfal_s0.add(gdstk.Label('x3_bar', (0.542,18.23), layer=68, texttype=16))
eespfal_s0.add(gdstk.Label('CLK1', (1.64,19.32), layer=69, texttype=16))
eespfal_s0.add(gdstk.Label('Dis1', (2.2,19.35), layer=69, texttype=16))
eespfal_s0.add(gdstk.Label('CLK3', (23.84,19.41), layer=69, texttype=16))
eespfal_s0.add(gdstk.Label('Dis2', (25.237,19.412), layer=69, texttype=16))
eespfal_s0.add(gdstk.Label('CLK2', (25.687,19.412), layer=69, texttype=16))
eespfal_s0.add(gdstk.Label('Dis3', (26.162,19.412), layer=69, texttype=16))
eespfal_s0.add(gdstk.Label('s0', (33.812,10.587), layer=69, texttype=16))
eespfal_s0.add(gdstk.Label('s0_bar', (33.812,9.987), layer=69, texttype=16))

lib.write_gds('EESPFAL_s0.gds')
